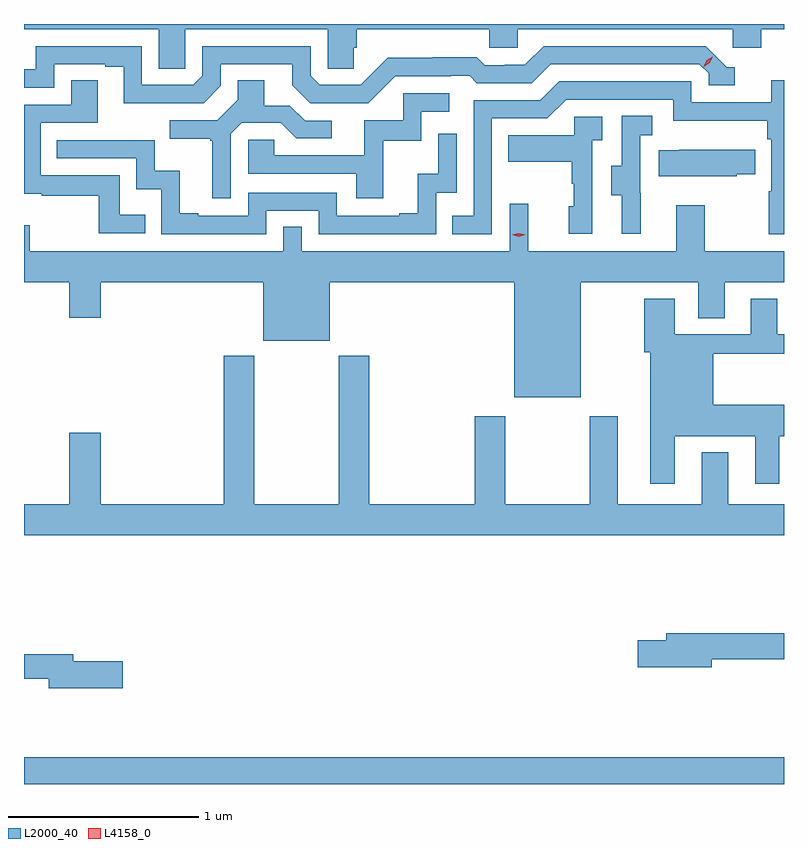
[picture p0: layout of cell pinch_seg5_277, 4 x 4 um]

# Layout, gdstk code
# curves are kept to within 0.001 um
import gdstk
lib = gdstk.Library(unit=1e-6, precision=1e-09)
def R(c, l, rs):  # rectangles x0, y0, x1, y1
    for r in rs: c.add(gdstk.rectangle(r[:2], r[2:], *l))
def P(c, l, *ps):  # polygons
    for p in ps: c.add(gdstk.Polygon(p, *l))
L2000_40 = (2000, 40)
L4158_0 = (4158, 0)

pinch_seg5_277 = lib.new_cell('pinch_seg5_277')
R(pinch_seg5_277, L2000_40, [(908.025,899.407,912.025,899.548)])
P(pinch_seg5_277, L2000_40, [(908.874,903.38),(909.624,903.38),(909.624,903.172),(909.761,903.172),(909.761,903.282),(909.776,903.282),(909.776,903.38),(910.473,903.38),(910.473,903.282),(910.623,903.282),(910.623,903.38),(911.754,903.38),(911.754,903.282),(911.906,903.282),(911.906,903.38),(912.025,903.38),(912.025,903.407),(908.025,903.407),(908.025,903.38),(908.735,903.38),(908.735,903.172),(908.874,903.172)],
  [(908.754,902.991),(908.97,902.991),(909.06,903.081),(909.06,903.195),(909.437,903.195),(909.437,903.085),(909.531,902.991),(909.837,902.991),(909.978,903.132),(910.271,903.132),(910.271,903.135),(910.37,903.135),(910.409,903.096),(910.698,903.096),(910.797,903.195),(911.58,903.195),(911.628,903.147),(911.628,903.084),(911.767,903.084),(911.767,903.18),(911.724,903.18),(911.613,903.291),(910.76,903.291),(910.661,903.192),(910.554,903.192),(910.554,903.189),(910.451,903.189),(910.409,903.232),(910.176,903.232),(910.176,903.229),(909.94,903.229),(909.798,903.087),(909.582,903.087),(909.534,903.135),(909.534,903.291),(908.964,903.291),(908.964,903.135),(908.916,903.087),(908.646,903.087),(908.646,903.291),(908.088,903.291),(908.088,903.168),(908.025,903.168),(908.025,903.072),(908.184,903.072),(908.184,903.195),(908.453,903.195),(908.453,903.183),(908.549,903.183),(908.549,902.99)],
  [(909.114,902.829),(909.171,902.886),(909.377,902.886),(909.458,902.805),(909.646,902.805),(909.646,902.898),(909.504,902.898),(909.424,902.978),(909.289,902.978),(909.289,903.11),(909.149,903.11),(909.149,903.008),(909.042,902.901),(908.793,902.901),(908.793,902.804),(909.006,902.804),(909.006,902.793),(909.017,902.793),(909.017,902.49),(909.114,902.49)],
  [(908.663,902.404),(908.529,902.404),(908.529,902.61),(908.112,902.61),(908.112,902.886),(908.413,902.886),(908.413,903.11),(908.273,903.11),(908.273,902.982),(908.025,902.982),(908.025,902.513),(908.119,902.513),(908.119,902.502),(908.418,902.502),(908.418,902.307),(908.663,902.307)],
  [(910.488,902.91),(910.779,902.91),(910.878,903.009),(911.442,903.009),(911.442,902.897),(911.938,902.897),(911.938,902.801),(911.958,902.801),(911.958,902.528),(911.946,902.528),(911.946,902.301),(912.025,902.301),(912.025,903.11),(911.957,903.11),(911.957,902.994),(911.538,902.994),(911.538,903.105),(910.841,903.105),(910.742,903.006),(910.392,903.006),(910.392,902.397),(910.279,902.397),(910.279,902.301),(910.488,902.301)],
  [(909.917,902.793),(910.116,902.793),(910.116,902.946),(910.264,902.946),(910.264,903.042),(910.02,903.042),(910.02,902.901),(909.815,902.901),(909.815,902.715),(909.341,902.715),(909.341,902.799),(909.204,902.799),(909.204,902.619),(909.773,902.619),(909.773,902.49),(909.917,902.49)],
  [(911.27,902.517),(911.268,902.517),(911.268,902.821),(911.332,902.821),(911.332,902.924),(911.172,902.924),(911.172,902.661),(911.117,902.661),(911.117,902.506),(911.171,902.506),(911.171,902.304),(911.27,902.304)],
  [(911.016,902.795),(911.068,902.795),(911.068,902.919),(910.92,902.919),(910.92,902.821),(910.573,902.821),(910.573,902.681),(910.908,902.681),(910.908,902.567),(910.918,902.567),(910.918,902.448),(910.892,902.448),(910.892,902.304),(911.016,902.304)],
  [(909.3,902.424),(909.576,902.424),(909.576,902.301),(910.194,902.301),(910.194,902.52),(910.302,902.52),(910.302,902.83),(910.206,902.83),(910.206,902.618),(910.097,902.618),(910.097,902.41),(910.001,902.41),(910.001,902.397),(909.672,902.397),(909.672,902.52),(909.204,902.52),(909.204,902.397),(908.941,902.397),(908.941,902.41),(908.845,902.41),(908.845,902.635),(908.712,902.635),(908.712,902.796),(908.197,902.796),(908.197,902.7),(908.616,902.7),(908.616,902.537),(908.748,902.537),(908.748,902.301),(909.3,902.301)],
  [(911.775,902.617),(911.873,902.617),(911.873,902.746),(911.473,902.746),(911.473,902.743),(911.365,902.743),(911.365,902.606),(911.775,902.606)],
  [(910.954,902.048),(911.573,902.048),(911.573,901.858),(911.713,901.858),(911.713,902.048),(912.025,902.048),(912.025,902.212),(911.607,902.212),(911.607,902.452),(911.459,902.452),(911.459,902.212),(910.679,902.212),(910.679,902.461),(910.581,902.461),(910.581,902.212),(909.486,902.212),(909.486,902.339),(909.39,902.339),(909.39,902.212),(908.055,902.212),(908.055,902.347),(908.025,902.347),(908.025,902.048),(908.264,902.048),(908.264,901.86),(908.428,901.86),(908.428,902.048),(909.284,902.048),(909.284,901.739),(909.634,901.739),(909.634,902.048),(910.604,902.048),(910.604,901.442),(910.954,901.442)],
  [(911.449,901.238),(911.873,901.238),(911.873,900.987),(912.001,900.987),(912.001,901.238),(912.025,901.238),(912.025,901.402),(911.653,901.402),(911.653,901.672),(912.025,901.672),(912.025,901.773),(911.989,901.773),(911.989,901.96),(911.849,901.96),(911.849,901.773),(911.449,901.773),(911.449,901.96),(911.29,901.96),(911.29,901.68),(911.321,901.68),(911.321,900.987),(911.449,900.987)],
  [(912.025,900.88),(911.731,900.88),(911.731,901.153),(911.591,901.153),(911.591,900.88),(911.149,900.88),(911.149,901.342),(911.002,901.342),(911.002,900.88),(910.557,900.88),(910.557,901.342),(910.397,901.342),(910.397,900.88),(909.842,900.88),(909.842,901.66),(909.682,901.66),(909.682,900.88),(909.237,900.88),(909.237,901.66),(909.077,901.66),(909.077,900.88),(908.428,900.88),(908.428,901.255),(908.264,901.255),(908.264,900.88),(908.025,900.88),(908.025,900.716),(912.025,900.716)],
  [(911.644,900.064),(912.025,900.064),(912.025,900.2),(911.405,900.2),(911.405,900.164),(911.256,900.164),(911.256,900.022),(911.644,900.022)],
  [(908.545,900.053),(908.284,900.053),(908.284,900.089),(908.025,900.089),(908.025,899.961),(908.156,899.961),(908.156,899.911),(908.545,899.911)])
P(pinch_seg5_277, L4158_0, [(911.602,903.182),(911.602,903.183),(911.619,903.215),(911.649,903.234),(911.65,903.234),(911.65,903.234),(911.633,903.202),(911.603,903.182)],
  [(910.629,902.287),(910.594,902.297),(910.593,902.297),(910.594,902.297),(910.629,902.307),(910.664,902.297),(910.664,902.297),(910.664,902.297)])

lib.write_gds('pinch_seg5_277.gds')
